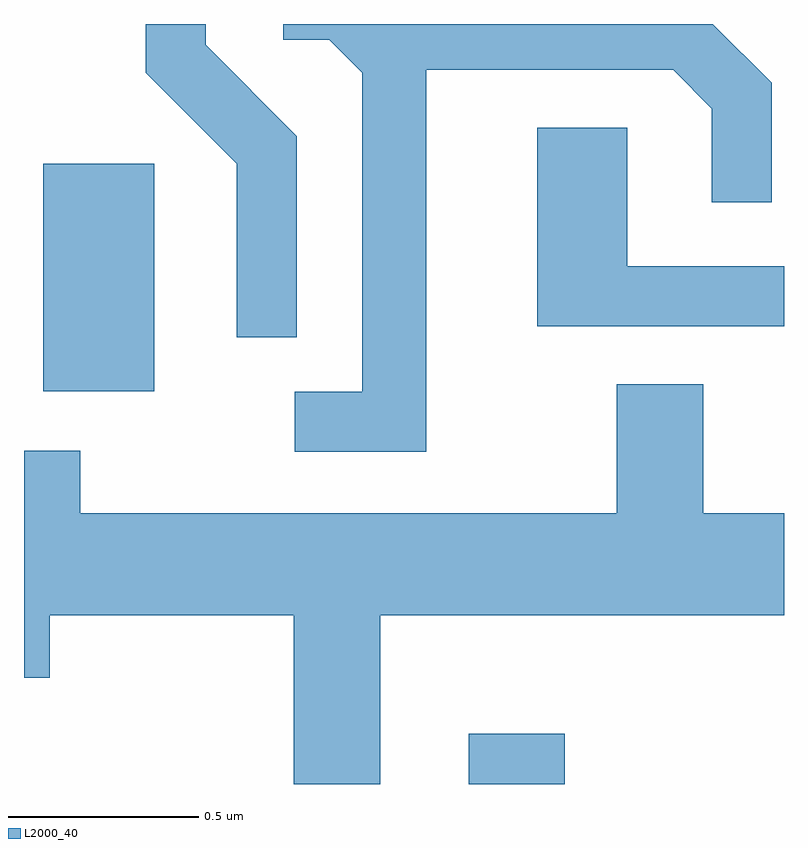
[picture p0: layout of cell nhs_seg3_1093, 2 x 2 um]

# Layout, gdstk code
import gdstk
lib = gdstk.Library(unit=1e-6, precision=1e-09)
def R(c, l, rs):  # rectangles x0, y0, x1, y1
    for r in rs: c.add(gdstk.rectangle(r[:2], r[2:], *l))
def P(c, l, *ps):  # polygons
    for p in ps: c.add(gdstk.Polygon(p, *l))
L2000_40 = (2000, 40)

nhs_seg3_1093 = lib.new_cell('nhs_seg3_1093')
R(nhs_seg3_1093, L2000_40, [(193.781,1249.892,194.034,1250.024), (192.661,1250.926,192.954,1251.524)])
P(nhs_seg3_1093, L2000_40, [(193.669,1251.771),(194.319,1251.771),(194.421,1251.669),(194.421,1251.423),(194.579,1251.423),(194.579,1251.737),(194.424,1251.892),(193.293,1251.892),(193.293,1251.851),(193.414,1251.851),(193.501,1251.764),(193.501,1250.924),(193.323,1250.924),(193.323,1250.766),(193.669,1250.766)],
  [(193.329,1251.597),(193.089,1251.837),(193.089,1251.892),(192.931,1251.892),(192.931,1251.764),(193.171,1251.524),(193.171,1251.068),(193.329,1251.068)],
  [(194.611,1251.254),(194.199,1251.254),(194.199,1251.619),(193.961,1251.619),(193.961,1251.096),(194.611,1251.096)],
  [(193.549,1250.336),(194.611,1250.336),(194.611,1250.604),(194.399,1250.604),(194.399,1250.944),(194.171,1250.944),(194.171,1250.604),(192.759,1250.604),(192.759,1250.769),(192.611,1250.769),(192.611,1250.171),(192.679,1250.171),(192.679,1250.336),(193.321,1250.336),(193.321,1249.892),(193.549,1249.892)])

lib.write_gds('nhs_seg3_1093.gds')
